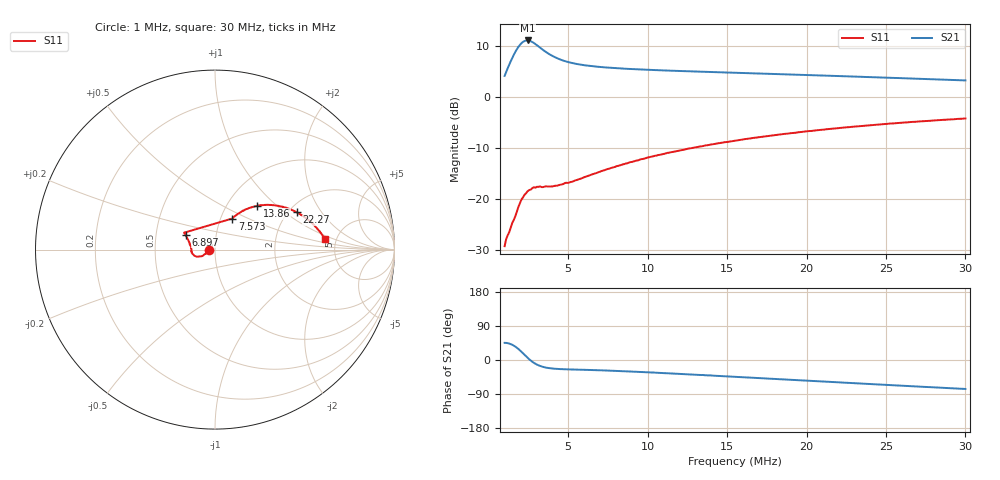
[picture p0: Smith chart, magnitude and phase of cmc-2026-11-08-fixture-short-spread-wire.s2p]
!File created by NanoVNA-F V2
# Hz S RI R 50
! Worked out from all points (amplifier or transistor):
!   301 points, 1 MHz to 30 MHz, reference 50 ohm
!   highest |S21| = 11.1 dB at 2.45 MHz (marker M1)
!   |S21| within 3 dB of that: 1.55 MHz to 3.992 MHz (2.442 MHz wide, 88.1 % of centre)
!   S11 on the Smith chart (normalised r, x): 1 MHz: 0.93, -0.01; 6.897 MHz: 0.71, +0.12; 7.573 MHz: 1.13, +0.41; 13.86 MHz: 1.38, +0.76; 22.27 MHz: 2.21, +1.22; 30 MHz: 4.06, +0.78
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1000000  -0.0343 -0.00345  1.134 1.145  0 0  0 0
1483330  -0.0529 -0.0247  1.849 1.561  0 0  0 0
1773328  -0.0671 -0.0341  2.488 1.571  0 0  0 0
1966660  -0.083 -0.0378  2.933 1.395  0 0  0 0
2159992  -0.0963 -0.0395  3.311 1.052  0 0  0 0
2449990  -0.1144 -0.0345  3.57 0.3599  0 0  0 0
2836654  -0.1293 -0.0184  3.367 -0.435  0 0  0 0
3029986  -0.1312 -0.0126  3.155 -0.6741  0 0  0 0
3319984  -0.1309 -0.0039  2.845 -0.8684  0 0  0 0
3803314  -0.1326 0.0078  2.456 -0.9645  0 0  0 0
4383310  -0.135 0.0193  2.172 -0.9557  0 0  0 0
5833300  -0.1497 0.0546  1.865 -0.8961  0 0  0 0
6896626  -0.1633 0.0832  1.763 -0.8985  0 0  0 0
7476622  -0.1729 0.094  1.719 -0.9101  0 0  0 0
7573288  0.0964 0.1732  1.712 -0.9105  0 0  0 0
1.06666e7  0.1586 0.2187  1.522 -1.02  0 0  0 0
1.385658e7  0.2362 0.2436  1.336 -1.15  0 0  0 0
1.54999e7  0.2784 0.2489  1.237 -1.208  0 0  0 0
2.03332e7  0.4054 0.2288  0.9325 -1.346  0 0  0 0
2.226652e7  0.4552 0.2075  0.8114 -1.381  0 0  0 0
2.51665e7  0.5226 0.1627  0.6296 -1.412  0 0  0 0
2.99998e7  0.6138 0.0593  0.3416 -1.415  0 0  0 0
